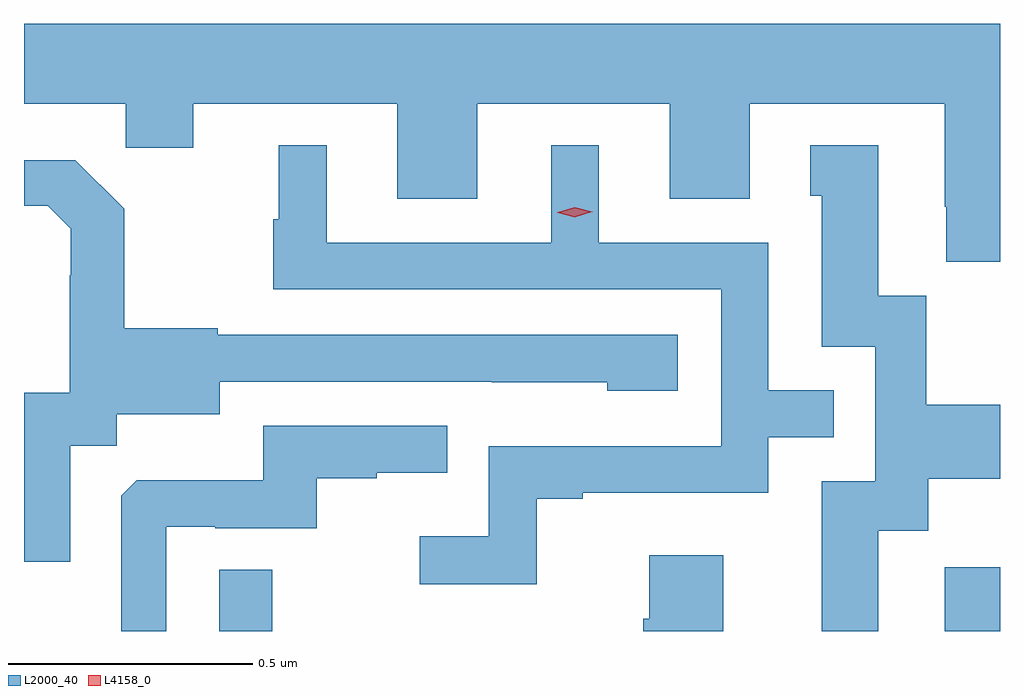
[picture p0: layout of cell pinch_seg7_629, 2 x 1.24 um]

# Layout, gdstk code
import gdstk
lib = gdstk.Library(unit=1e-6, precision=1e-09)
def R(c, l, rs):  # rectangles x0, y0, x1, y1
    for r in rs: c.add(gdstk.rectangle(r[:2], r[2:], *l))
def P(c, l, *ps):  # polygons
    for p in ps: c.add(gdstk.Polygon(p, *l))
L2000_40 = (2000, 40)
L4158_0 = (4158, 0)

pinch_seg7_629 = lib.new_cell('pinch_seg7_629')
R(pinch_seg7_629, L2000_40, [(214.35,1032.836,214.459,1032.962), (215.837,1032.836,215.95,1032.967)])
P(pinch_seg7_629, L2000_40, [(215.95,1034.08),(213.95,1034.08),(213.95,1033.916),(214.159,1033.916),(214.159,1033.826),(214.297,1033.826),(214.297,1033.916),(214.715,1033.916),(214.715,1033.722),(214.879,1033.722),(214.879,1033.916),(215.273,1033.916),(215.273,1033.722),(215.437,1033.722),(215.437,1033.916),(215.837,1033.916),(215.837,1033.705),(215.84,1033.705),(215.84,1033.593),(215.95,1033.593)],
  [(215.701,1033.042),(215.803,1033.042),(215.803,1033.148),(215.95,1033.148),(215.95,1033.3),(215.799,1033.3),(215.799,1033.523),(215.701,1033.523),(215.701,1033.831),(215.561,1033.831),(215.561,1033.728),(215.585,1033.728),(215.585,1033.419),(215.694,1033.419),(215.694,1033.143),(215.585,1033.143),(215.585,1032.836),(215.701,1032.836)],
  [(215.001,1033.107),(215.095,1033.107),(215.095,1033.119),(215.475,1033.119),(215.475,1033.233),(215.609,1033.233),(215.609,1033.329),(215.475,1033.329),(215.475,1033.632),(215.128,1033.632),(215.128,1033.831),(215.03,1033.831),(215.03,1033.632),(214.57,1033.632),(214.57,1033.831),(214.472,1033.831),(214.472,1033.68),(214.461,1033.68),(214.461,1033.536),(215.379,1033.536),(215.379,1033.215),(214.902,1033.215),(214.902,1033.03),(214.761,1033.03),(214.761,1032.932),(215.001,1032.932)],
  [(214.045,1033.216),(214.14,1033.216),(214.14,1033.28),(214.351,1033.28),(214.351,1033.347),(214.909,1033.347),(214.909,1033.346),(215.145,1033.346),(215.145,1033.328),(215.29,1033.328),(215.29,1033.443),(214.347,1033.443),(214.347,1033.456),(214.155,1033.456),(214.155,1033.701),(214.055,1033.801),(213.95,1033.801),(213.95,1033.707),(213.999,1033.707),(214.046,1033.66),(214.046,1033.565),(214.044,1033.565),(214.044,1033.324),(213.95,1033.324),(213.95,1032.978),(214.045,1032.978)],
  [(214.242,1033.05),(214.342,1033.05),(214.342,1033.047),(214.55,1033.047),(214.55,1033.149),(214.673,1033.149),(214.673,1033.16),(214.817,1033.16),(214.817,1033.257),(214.44,1033.257),(214.44,1033.145),(214.181,1033.145),(214.149,1033.113),(214.149,1032.836),(214.242,1032.836)],
  [(215.383,1032.991),(215.231,1032.991),(215.231,1032.861),(215.219,1032.861),(215.219,1032.836),(215.383,1032.836)])
P(pinch_seg7_629, L4158_0, [(215.079,1033.684),(215.044,1033.693),(215.043,1033.693),(215.044,1033.694),(215.079,1033.704),(215.114,1033.695),(215.115,1033.695),(215.114,1033.695)])

lib.write_gds('pinch_seg7_629.gds')
